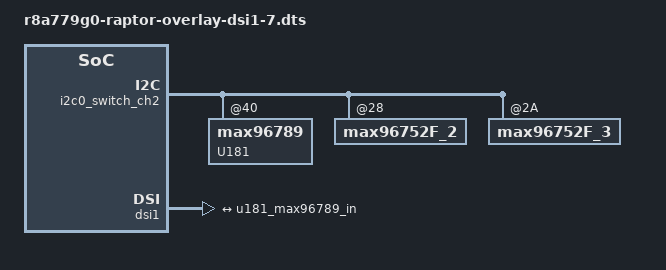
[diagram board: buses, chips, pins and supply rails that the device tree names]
// SPDX-License-Identifier: GPL-2.0

#include <dt-bindings/clock/r8a779g0-cpg-mssr.h>

/dts-v1/;
/plugin/;

#include <dt-bindings/gpio/gpio.h>
#include <dt-bindings/interrupt-controller/arm-gic.h>

/* overlay dsi to max96789 and 7" panel - disable lt9611 */

&rcar_sound {
	status = "disabled";
};

&i2c0_switch_ch1 {
	U26: lt9611@3b {
		status = "disabled";
	};
};

&i2c0_switch_ch2 {
	U181: max96789@40 {
		status = "okay";
	};

	max96752F_2@28 {
		status = "okay";
	};

	max96752F_3@2A {
		status = "okay";
	};
};

&dsi1 {
	ports {
		port@1 {
			endpoint {
				remote-endpoint = <&u181_max96789_in>;
			};
		};
	};
};
